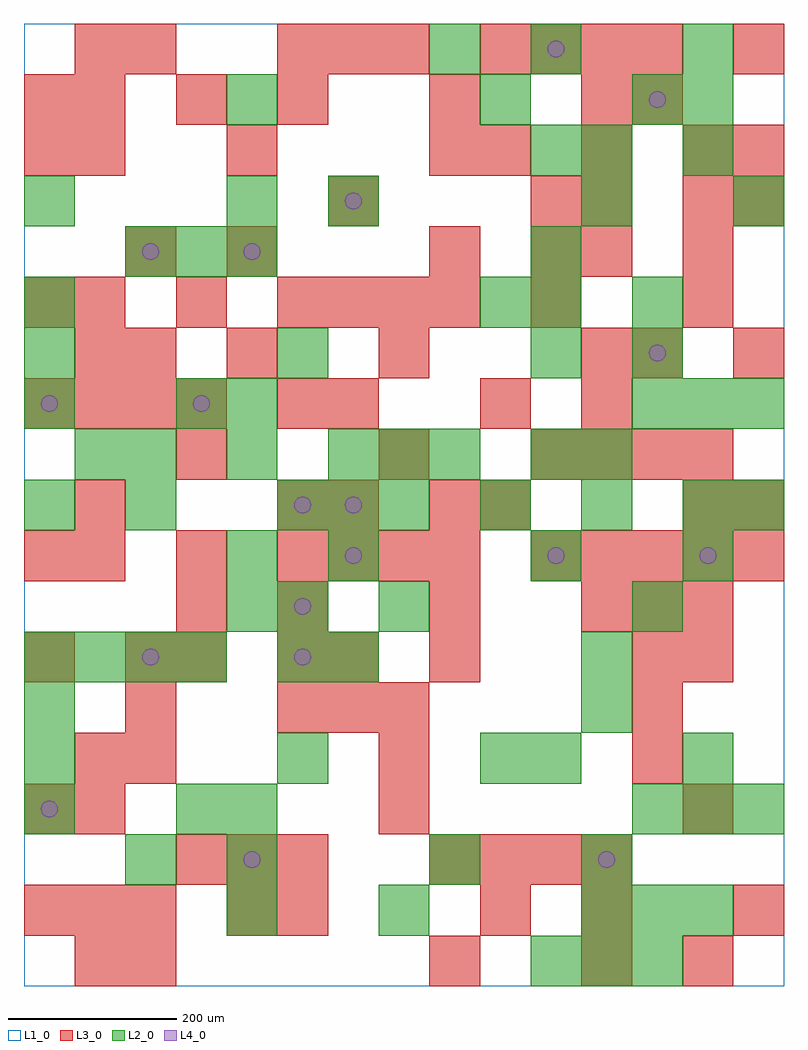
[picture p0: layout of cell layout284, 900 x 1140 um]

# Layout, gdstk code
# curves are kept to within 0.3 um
import gdstk
lib = gdstk.Library(unit=1e-6, precision=1e-09)
def R(c, l, rs):  # rectangles x0, y0, x1, y1
    for r in rs: c.add(gdstk.rectangle(r[:2], r[2:], *l))
def A(c, l, x, y, w, h, nx, ny, dx, dy):  # array of equal rectangles
    R(c, l, [(x+i*dx, y+j*dy, x+i*dx+w, y+j*dy+h) for i in range(nx) for j in range(ny)])
def P(c, l, *ps):  # polygons
    for p in ps: c.add(gdstk.Polygon(p, *l))
L1_0 = (1, 0)
L2_0 = (2, 0)
L3_0 = (3, 0)
L4_0 = (4, 0)

layout284 = lib.new_cell('layout284')
R(layout284, L1_0, [(0,0,900,1140)])
A(layout284, L2_0, 600, 0, 60, 60, 3, 1, 60, 0)
A(layout284, L2_0, 240, 60, 60, 60, 1, 3, 0, 60)
A(layout284, L2_0, 660, 60, 60, 60, 3, 1, 60, 0)
A(layout284, L2_0, 480, 120, 60, 60, 1, 3, 0, 480)
A(layout284, L2_0, 0, 180, 60, 60, 1, 3, 0, 60)
A(layout284, L2_0, 720, 180, 60, 60, 3, 2, 60, 480)
A(layout284, L2_0, 0, 360, 60, 60, 4, 1, 60, 0)
A(layout284, L2_0, 0, 540, 60, 60, 1, 4, 0, 120)
A(layout284, L2_0, 300, 540, 60, 60, 3, 1, 60, 0)
A(layout284, L2_0, 540, 540, 60, 60, 3, 1, 120, 0)
A(layout284, L2_0, 120, 600, 60, 60, 3, 1, 120, 0)
A(layout284, L2_0, 0, 720, 60, 60, 3, 1, 300, 0)
A(layout284, L2_0, 120, 840, 60, 60, 3, 1, 60, 0)
A(layout284, L2_0, 600, 840, 60, 60, 1, 3, 0, 120)
A(layout284, L2_0, 780, 960, 60, 60, 1, 3, 0, 60)
R(layout284, L2_0, [(420,60,480,120), (120,120,180,180), (660,120,720,180), (180,180,240,240), (300,240,360,300), (540,240,600,300), (600,240,660,300), (780,240,840,300), (660,300,720,360), (300,360,360,420), (360,360,420,420), (660,360,720,420), (240,420,300,480), (300,420,360,480), (420,420,480,480), (720,420,780,480), (240,480,300,540), (360,480,420,540), (600,480,660,540), (780,480,840,540), (120,540,180,600), (840,540,900,600), (60,600,120,660), (420,600,480,660), (600,600,660,660), (660,600,720,660), (180,660,240,720), (240,660,300,720), (720,720,780,780), (540,780,600,840), (600,780,660,840), (720,780,780,840), (240,900,300,960), (360,900,420,960), (660,900,720,960), (840,900,900,960), (660,960,720,1020), (240,1020,300,1080), (540,1020,600,1080), (720,1020,780,1080)])
A(layout284, L3_0, 0, 60, 60, 60, 3, 1, 60, 0)
A(layout284, L3_0, 180, 120, 60, 60, 3, 1, 60, 0)
A(layout284, L3_0, 480, 120, 60, 60, 4, 1, 60, 0)
A(layout284, L3_0, 60, 180, 60, 60, 3, 1, 360, 0)
A(layout284, L3_0, 120, 240, 60, 60, 3, 1, 300, 0)
A(layout284, L3_0, 300, 300, 60, 60, 3, 2, 60, 780)
A(layout284, L3_0, 720, 300, 60, 60, 1, 3, 0, 60)
A(layout284, L3_0, 300, 420, 60, 60, 3, 1, 180, 0)
A(layout284, L3_0, 60, 480, 60, 60, 3, 2, 120, 300)
A(layout284, L3_0, 360, 480, 60, 60, 3, 2, 60, 300)
A(layout284, L3_0, 600, 480, 60, 60, 5, 1, 60, 0)
A(layout284, L3_0, 840, 540, 60, 60, 1, 3, 0, 180)
A(layout284, L3_0, 600, 600, 60, 60, 4, 1, 60, 0)
A(layout284, L3_0, 0, 660, 60, 60, 4, 1, 60, 0)
A(layout284, L3_0, 240, 720, 60, 60, 1, 3, 0, 120)
A(layout284, L3_0, 600, 780, 60, 60, 1, 3, 0, 60)
A(layout284, L3_0, 780, 780, 60, 60, 1, 3, 0, 60)
A(layout284, L3_0, 540, 960, 60, 60, 3, 1, 120, 0)
A(layout284, L3_0, 60, 1020, 60, 60, 3, 1, 120, 0)
A(layout284, L3_0, 540, 1080, 60, 60, 4, 1, 60, 0)
R(layout284, L3_0, [(60,0,120,60), (120,0,180,60), (480,0,540,60), (660,0,720,60), (780,0,840,60), (240,60,300,120), (300,60,360,120), (540,60,600,120), (660,60,720,120), (840,60,900,120), (0,180,60,240), (60,240,120,300), (120,300,180,360), (0,360,60,420), (120,360,180,420), (180,360,240,420), (300,360,360,420), (360,360,420,420), (480,360,540,420), (780,360,840,420), (180,420,240,480), (780,420,840,480), (0,480,60,540), (60,540,120,600), (300,540,360,600), (360,540,420,600), (480,540,540,600), (540,540,600,600), (780,540,840,600), (180,600,240,660), (420,600,480,660), (300,660,360,720), (360,660,420,720), (540,660,600,720), (660,660,720,720), (60,720,120,780), (120,720,180,780), (420,720,480,780), (660,720,720,780), (720,720,780,780), (0,780,60,840), (120,840,180,900), (480,840,540,900), (660,840,720,900), (360,900,420,960), (660,900,720,960), (0,960,60,1020), (60,960,120,1020), (480,960,540,1020), (840,960,900,1020), (0,1020,60,1080), (480,1020,540,1080), (660,1020,720,1080), (720,1020,780,1080), (60,1080,120,1140), (120,1080,180,1140), (840,1080,900,1140)])
P(layout284, L4_0, [(40,210),(39.239,213.827),(37.071,217.071),(33.827,219.239),(30,220),(26.173,219.239),(22.929,217.071),(20.761,213.827),(20,210),(20.761,206.173),(22.929,202.929),(26.173,200.761),(30,200),(33.827,200.761),(37.071,202.929),(39.239,206.173)],
  [(40,690),(39.239,693.827),(37.071,697.071),(33.827,699.239),(30,700),(26.173,699.239),(22.929,697.071),(20.761,693.827),(20,690),(20.761,686.173),(22.929,682.929),(26.173,680.761),(30,680),(33.827,680.761),(37.071,682.929),(39.239,686.173)],
  [(160,390),(159.239,393.827),(157.071,397.071),(153.827,399.239),(150,400),(146.173,399.239),(142.929,397.071),(140.761,393.827),(140,390),(140.761,386.173),(142.929,382.929),(146.173,380.761),(150,380),(153.827,380.761),(157.071,382.929),(159.239,386.173)],
  [(160,870),(159.239,873.827),(157.071,877.071),(153.827,879.239),(150,880),(146.173,879.239),(142.929,877.071),(140.761,873.827),(140,870),(140.761,866.173),(142.929,862.929),(146.173,860.761),(150,860),(153.827,860.761),(157.071,862.929),(159.239,866.173)],
  [(220,690),(219.239,693.827),(217.071,697.071),(213.827,699.239),(210,700),(206.173,699.239),(202.929,697.071),(200.761,693.827),(200,690),(200.761,686.173),(202.929,682.929),(206.173,680.761),(210,680),(213.827,680.761),(217.071,682.929),(219.239,686.173)],
  [(280,150),(279.239,153.827),(277.071,157.071),(273.827,159.239),(270,160),(266.173,159.239),(262.929,157.071),(260.761,153.827),(260,150),(260.761,146.173),(262.929,142.929),(266.173,140.761),(270,140),(273.827,140.761),(277.071,142.929),(279.239,146.173)],
  [(280,870),(279.239,873.827),(277.071,877.071),(273.827,879.239),(270,880),(266.173,879.239),(262.929,877.071),(260.761,873.827),(260,870),(260.761,866.173),(262.929,862.929),(266.173,860.761),(270,860),(273.827,860.761),(277.071,862.929),(279.239,866.173)],
  [(340,390),(339.239,393.827),(337.071,397.071),(333.827,399.239),(330,400),(326.173,399.239),(322.929,397.071),(320.761,393.827),(320,390),(320.761,386.173),(322.929,382.929),(326.173,380.761),(330,380),(333.827,380.761),(337.071,382.929),(339.239,386.173)],
  [(340,450),(339.239,453.827),(337.071,457.071),(333.827,459.239),(330,460),(326.173,459.239),(322.929,457.071),(320.761,453.827),(320,450),(320.761,446.173),(322.929,442.929),(326.173,440.761),(330,440),(333.827,440.761),(337.071,442.929),(339.239,446.173)],
  [(340,570),(339.239,573.827),(337.071,577.071),(333.827,579.239),(330,580),(326.173,579.239),(322.929,577.071),(320.761,573.827),(320,570),(320.761,566.173),(322.929,562.929),(326.173,560.761),(330,560),(333.827,560.761),(337.071,562.929),(339.239,566.173)],
  [(400,510),(399.239,513.827),(397.071,517.071),(393.827,519.239),(390,520),(386.173,519.239),(382.929,517.071),(380.761,513.827),(380,510),(380.761,506.173),(382.929,502.929),(386.173,500.761),(390,500),(393.827,500.761),(397.071,502.929),(399.239,506.173)],
  [(400,570),(399.239,573.827),(397.071,577.071),(393.827,579.239),(390,580),(386.173,579.239),(382.929,577.071),(380.761,573.827),(380,570),(380.761,566.173),(382.929,562.929),(386.173,560.761),(390,560),(393.827,560.761),(397.071,562.929),(399.239,566.173)],
  [(400,930),(399.239,933.827),(397.071,937.071),(393.827,939.239),(390,940),(386.173,939.239),(382.929,937.071),(380.761,933.827),(380,930),(380.761,926.173),(382.929,922.929),(386.173,920.761),(390,920),(393.827,920.761),(397.071,922.929),(399.239,926.173)],
  [(640,510),(639.239,513.827),(637.071,517.071),(633.827,519.239),(630,520),(626.173,519.239),(622.929,517.071),(620.761,513.827),(620,510),(620.761,506.173),(622.929,502.929),(626.173,500.761),(630,500),(633.827,500.761),(637.071,502.929),(639.239,506.173)],
  [(640,1110),(639.239,1113.827),(637.071,1117.071),(633.827,1119.239),(630,1120),(626.173,1119.239),(622.929,1117.071),(620.761,1113.827),(620,1110),(620.761,1106.173),(622.929,1102.929),(626.173,1100.761),(630,1100),(633.827,1100.761),(637.071,1102.929),(639.239,1106.173)],
  [(700,150),(699.239,153.827),(697.071,157.071),(693.827,159.239),(690,160),(686.173,159.239),(682.929,157.071),(680.761,153.827),(680,150),(680.761,146.173),(682.929,142.929),(686.173,140.761),(690,140),(693.827,140.761),(697.071,142.929),(699.239,146.173)],
  [(760,750),(759.239,753.827),(757.071,757.071),(753.827,759.239),(750,760),(746.173,759.239),(742.929,757.071),(740.761,753.827),(740,750),(740.761,746.173),(742.929,742.929),(746.173,740.761),(750,740),(753.827,740.761),(757.071,742.929),(759.239,746.173)],
  [(760,1050),(759.239,1053.827),(757.071,1057.071),(753.827,1059.239),(750,1060),(746.173,1059.239),(742.929,1057.071),(740.761,1053.827),(740,1050),(740.761,1046.173),(742.929,1042.929),(746.173,1040.761),(750,1040),(753.827,1040.761),(757.071,1042.929),(759.239,1046.173)],
  [(820,510),(819.239,513.827),(817.071,517.071),(813.827,519.239),(810,520),(806.173,519.239),(802.929,517.071),(800.761,513.827),(800,510),(800.761,506.173),(802.929,502.929),(806.173,500.761),(810,500),(813.827,500.761),(817.071,502.929),(819.239,506.173)])

lib.write_gds('layout284.gds')
